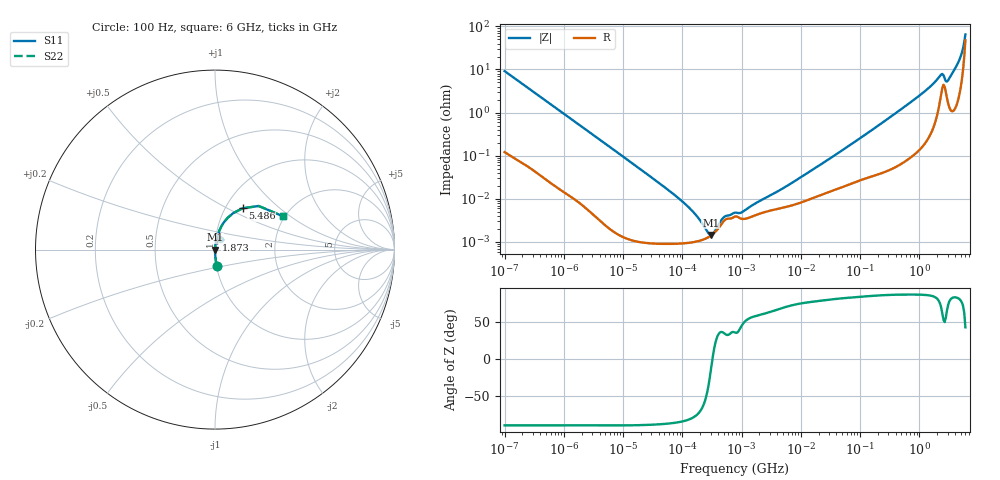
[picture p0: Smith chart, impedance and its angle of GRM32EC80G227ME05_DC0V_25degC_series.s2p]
!Murata Part Number: GRM32EC80G227ME05
!These Parameters are Measured in Series Mode Connection
!  o--ll--o
!Port1  Port2
!  o------o
!Operation Temp=25[degC], DC Bias Voltage=0[V]
!Freq. Start=100[Hz] Stop=6[GHz], 401[Steps]
!Data Generated on Dec 1, 2020
# Hz S RI R 50
!Freq.(Hz) S11(Real) S11(Imag) S21(Real) S21(Imag) S12(Real) S12(Imag) S22(Real) S22(Imag)
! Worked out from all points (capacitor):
!   401 points, 100 Hz to 6 GHz, reference 50 ohm
!   read as one part in series: C = 173 uF near 109.4 Hz
!   lowest |Z| = 1.45 mohm at 302.5 kHz (marker M1)
!   series resonance near 322.1 kHz, so ESL is about 1.4 nH
!   S11 on the Smith chart (normalised r, x): 100 Hz: 1.00, -0.18; 1.873 GHz: 1.01, +0.11; 5.486 GHz: 1.20, +0.60; 6 GHz: 1.95, +0.88
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100  0.00955 -0.0909  0.9905 0.0909  0.9905 0.0909  0.00955 -0.0909
334.9849  0.00118 -0.0277  0.9988 0.0277  0.9988 0.0277  0.00118 -0.0277
2008.354  9.48e-05 -0.00471  0.9999 0.00471  0.9999 0.00471  9.48e-05 -0.00471
40334.87  9.12e-06 -0.000233  1 0.000233  1 0.000233  9.12e-06 -0.000233
90302.02  9.17e-06 -9.77e-05  1 9.77e-05  1 9.77e-05  9.17e-06 -9.77e-05
302498.1  1.4e-05 -3.78e-06  1 3.78e-06  1 3.78e-06  1.4e-05 -3.78e-06
774596.7  3.88e-05 2.8e-05  1 -2.8e-05  1 -2.8e-05  3.88e-05 2.8e-05
2481164  4.94e-05 9.09e-05  1 -9.09e-05  1 -9.09e-05  4.94e-05 9.09e-05
5311619  6.36e-05 0.000173  0.9999 -0.000173  0.9999 -0.000173  6.36e-05 0.000173
1.555665e7  0.000103 0.000456  0.9999 -0.000456  0.9999 -0.000456  0.000103 0.000456
7.129496e7  0.000229 0.00184  0.9998 -0.00184  0.9998 -0.00184  0.000229 0.00184
3.124326e8  0.000522 0.0076  0.9995 -0.0076  0.9995 -0.0076  0.000522 0.0076
1.046602e9  0.00211 0.0258  0.9979 -0.0258  0.9979 -0.0258  0.00211 0.0258
1.873145e9  0.00889 0.0518  0.9911 -0.0518  0.9911 -0.0518  0.00889 0.0518
2.34314e9  0.031 0.0677  0.969 -0.0677  0.969 -0.0677  0.031 0.0677
2.450438e9  0.0405 0.0642  0.9595 -0.0642  0.9595 -0.0642  0.0405 0.0642
2.802721e9  0.031 0.0417  0.969 -0.0417  0.969 -0.0417  0.031 0.0417
3.065283e9  0.0189 0.0519  0.9811 -0.0519  0.9811 -0.0519  0.0189 0.0519
4.586474e9  0.041 0.1391  0.959 -0.1391  0.959 -0.1391  0.041 0.1391
5.016141e9  0.0719 0.1783  0.9281 -0.1783  0.9281 -0.1783  0.0719 0.1783
5.486059e9  0.1536 0.2303  0.8464 -0.2303  0.8464 -0.2303  0.1536 0.2303
6e9  0.3779 0.1859  0.6221 -0.1859  0.6221 -0.1859  0.3779 0.1859
